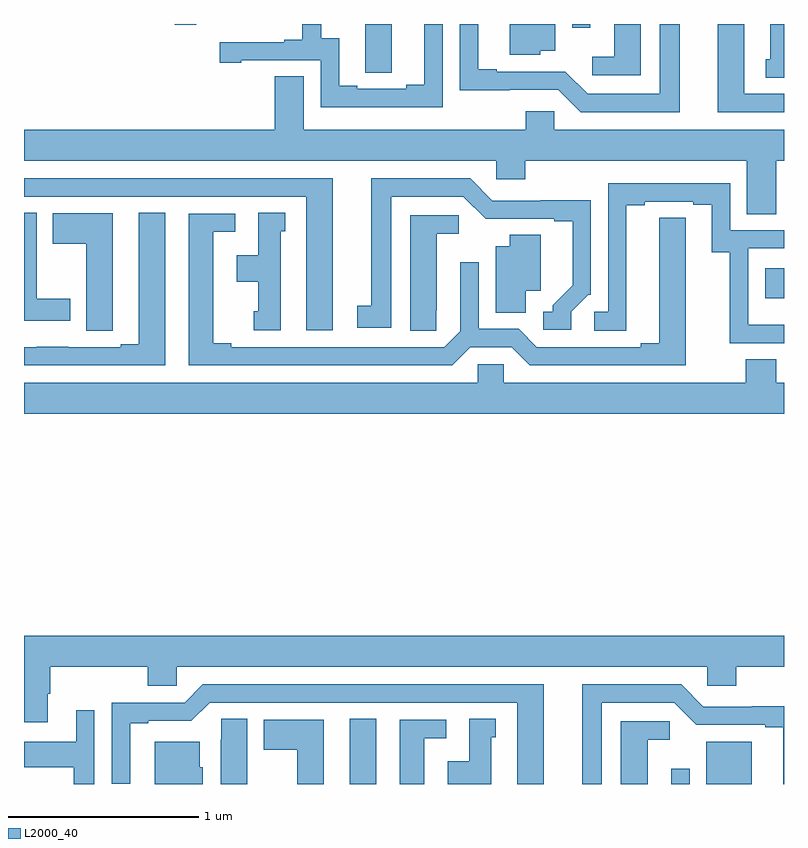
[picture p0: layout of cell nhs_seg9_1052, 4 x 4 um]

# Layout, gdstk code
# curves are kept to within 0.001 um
import gdstk
lib = gdstk.Library(unit=1e-6, precision=1e-09)
def R(c, l, rs):  # rectangles x0, y0, x1, y1
    for r in rs: c.add(gdstk.rectangle(r[:2], r[2:], *l))
def P(c, l, *ps):  # polygons
    for p in ps: c.add(gdstk.Polygon(p, *l))
L2000_40 = (2000, 40)

nhs_seg9_1052 = lib.new_cell('nhs_seg9_1052')
R(nhs_seg9_1052, L2000_40, [(170.714,1166.5,170.854,1166.843), (172.407,1166.5,172.503,1166.581), (172.592,1166.5,172.831,1166.722), (172.902,1169.057,173,1169.215), (171.885,1170.48,171.981,1170.5), (169.794,1170.497,169.906,1170.5)])
P(nhs_seg9_1052, L2000_40, [(171.204,1170.5),(171.107,1170.5),(171.107,1170.179),(171.011,1170.179),(171.011,1170.159),(170.755,1170.159),(170.755,1170.174),(170.659,1170.174),(170.659,1170.425),(170.565,1170.425),(170.565,1170.5),(170.465,1170.5),(170.465,1170.418),(170.369,1170.418),(170.369,1170.405),(170.031,1170.405),(170.031,1170.297),(170.143,1170.297),(170.143,1170.309),(170.562,1170.309),(170.562,1170.063),(171.204,1170.063)],
  [(172.45,1170.5),(172.346,1170.5),(172.346,1170.132),(171.966,1170.132),(171.849,1170.249),(171.487,1170.249),(171.487,1170.262),(171.391,1170.262),(171.391,1170.5),(171.294,1170.5),(171.294,1170.152),(171.813,1170.153),(171.93,1170.036),(172.45,1170.036)],
  [(170.935,1170.5),(170.795,1170.5),(170.795,1170.352),(170.796,1170.352),(170.796,1170.244),(170.935,1170.244)],
  [(173,1170.132),(172.792,1170.132),(172.792,1170.5),(172.652,1170.5),(172.652,1170.036),(173,1170.036)],
  [(171.717,1170.359),(171.796,1170.359),(171.796,1170.5),(171.557,1170.5),(171.557,1170.338),(171.717,1170.338)],
  [(172.246,1170.5),(172.106,1170.5),(172.106,1170.328),(171.99,1170.328),(171.99,1170.231),(172.246,1170.231)],
  [(173,1170.5),(172.928,1170.5),(172.928,1170.315),(172.904,1170.315),(172.904,1170.217),(173,1170.217)],
  [(171.792,1170.042),(171.641,1170.042),(171.641,1169.944),(170.473,1169.944),(170.473,1170.224),(170.321,1170.224),(170.321,1169.944),(169,1169.944),(169,1169.78),(171.486,1169.78),(171.486,1169.682),(171.638,1169.682),(171.638,1169.78),(172.805,1169.78),(172.805,1169.5),(172.958,1169.5),(172.958,1169.78),(173,1169.78),(173,1169.944),(171.792,1169.944)],
  [(171.879,1168.986),(171.969,1169.076),(171.984,1169.076),(171.984,1169.573),(171.721,1169.573),(171.721,1169.571),(171.465,1169.571),(171.348,1169.688),(170.828,1169.688),(170.828,1169.018),(170.754,1169.018),(170.754,1168.902),(170.932,1168.902),(170.932,1169.592),(171.312,1169.592),(171.43,1169.474),(171.791,1169.475),(171.791,1169.463),(171.887,1169.463),(171.887,1169.126),(171.782,1169.021),(171.782,1168.986),(171.732,1168.986),(171.732,1168.89),(171.879,1168.89)],
  [(170.626,1169.688),(169,1169.688),(169,1169.592),(170.486,1169.592),(170.486,1168.887),(170.626,1168.887)],
  [(173,1168.917),(172.814,1168.917),(172.814,1168.918),(172.812,1168.918),(172.812,1169.319),(173,1169.319),(173,1169.415),(172.716,1169.415),(172.716,1169.661),(172.074,1169.661),(172.074,1168.986),(172.002,1168.986),(172.002,1168.885),(172.171,1168.885),(172.171,1169.545),(172.267,1169.545),(172.267,1169.565),(172.523,1169.565),(172.523,1169.55),(172.619,1169.55),(172.619,1169.299),(172.714,1169.299),(172.714,1168.821),(173,1168.821)],
  [(169.744,1169.507),(169.604,1169.507),(169.604,1168.815),(169.508,1168.815),(169.508,1168.8),(169.232,1168.8),(169.232,1168.801),(169.066,1168.801),(169.066,1168.8),(169,1168.8),(169,1168.704),(169.744,1168.704)],
  [(169.243,1169.055),(169.066,1169.055),(169.066,1169.507),(169,1169.507),(169,1168.938),(169.243,1168.938)],
  [(170.35,1169.409),(170.374,1169.409),(170.374,1169.507),(170.234,1169.507),(170.234,1169.284),(170.12,1169.284),(170.12,1169.144),(170.234,1169.144),(170.234,1168.989),(170.21,1168.989),(170.21,1168.887),(170.35,1168.887)],
  [(169.467,1168.993),(169.468,1168.993),(169.468,1169.503),(169.151,1169.503),(169.151,1169.344),(169.328,1169.344),(169.328,1168.885),(169.467,1168.885)],
  [(171.349,1168.8),(171.567,1168.8),(171.663,1168.704),(172.483,1168.704),(172.482,1169.48),(172.343,1169.48),(172.343,1168.82),(172.247,1168.82),(172.247,1168.8),(171.699,1168.8),(171.603,1168.896),(171.393,1168.896),(171.393,1169.245),(171.297,1169.245),(171.297,1168.884),(171.213,1168.8),(170.092,1168.8),(170.092,1168.82),(169.996,1168.82),(169.996,1169.406),(170.113,1169.406),(170.113,1169.502),(169.868,1169.502),(169.868,1168.704),(171.253,1168.704)],
  [(171.171,1168.993),(171.172,1168.993),(171.172,1169.396),(171.289,1169.396),(171.289,1169.493),(171.032,1169.493),(171.032,1168.885),(171.171,1168.885)],
  [(171.64,1169.096),(171.721,1169.096),(171.721,1169.39),(171.557,1169.39),(171.557,1169.329),(171.482,1169.329),(171.482,1168.981),(171.64,1168.981)],
  [(173,1168.612),(172.958,1168.612),(172.958,1168.736),(172.798,1168.736),(172.798,1168.612),(171.525,1168.612),(171.525,1168.71),(171.387,1168.71),(171.387,1168.612),(169,1168.612),(169,1168.448),(173,1168.448)],
  [(169.126,1166.974),(169.139,1166.974),(169.139,1167.116),(169.652,1167.116),(169.652,1167.018),(169.803,1167.018),(169.803,1167.116),(172.596,1167.116),(172.596,1167.018),(172.748,1167.018),(172.748,1167.116),(173,1167.116),(173,1167.28),(169,1167.28),(169,1166.826),(169.126,1166.826)],
  [(171.736,1167.024),(169.941,1167.024),(169.845,1166.928),(169.461,1166.928),(169.461,1166.502),(169.558,1166.502),(169.558,1166.82),(169.654,1166.82),(169.654,1166.832),(169.881,1166.832),(169.977,1166.928),(171.596,1166.928),(171.596,1166.5),(171.736,1166.5)],
  [(172.042,1166.928),(172.422,1166.928),(172.539,1166.811),(172.901,1166.811),(172.901,1166.799),(172.997,1166.799),(172.997,1166.5),(173,1166.5),(173,1166.909),(172.831,1166.909),(172.831,1166.907),(172.575,1166.907),(172.458,1167.024),(171.938,1167.024),(171.938,1166.5),(172.042,1166.5)],
  [(169.371,1166.887),(169.274,1166.887),(169.274,1166.722),(169,1166.722),(169,1166.588),(169.263,1166.588),(169.263,1166.5),(169.371,1166.5)],
  [(171.46,1166.745),(171.484,1166.745),(171.484,1166.843),(171.344,1166.843),(171.344,1166.62),(171.23,1166.62),(171.23,1166.5),(171.46,1166.5)],
  [(170.176,1166.843),(170.037,1166.843),(170.037,1166.732),(170.036,1166.732),(170.036,1166.5),(170.176,1166.5)],
  [(170.578,1166.839),(170.261,1166.839),(170.261,1166.68),(170.438,1166.68),(170.438,1166.5),(170.578,1166.5)],
  [(171.106,1166.742),(171.223,1166.742),(171.223,1166.838),(170.978,1166.838),(170.978,1166.5),(171.106,1166.5)],
  [(172.282,1166.732),(172.399,1166.732),(172.399,1166.829),(172.142,1166.829),(172.142,1166.5),(172.282,1166.5)],
  [(169.942,1166.589),(169.924,1166.589),(169.924,1166.722),(169.688,1166.722),(169.688,1166.5),(169.942,1166.5)])

lib.write_gds('nhs_seg9_1052.gds')
